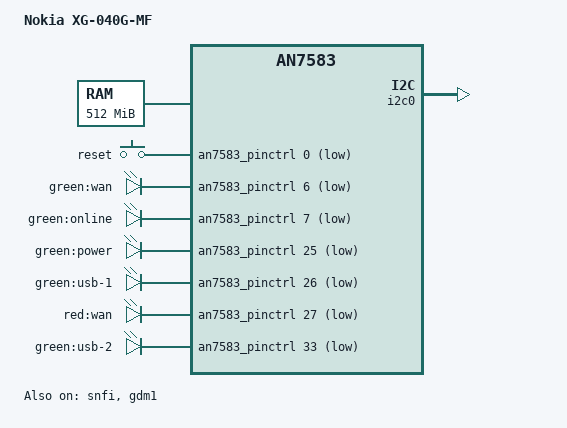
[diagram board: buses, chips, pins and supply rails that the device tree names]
// SPDX-License-Identifier: (GPL-2.0-only OR BSD-2-Clause)
/dts-v1/;

#include <dt-bindings/leds/common.h>
#include <dt-bindings/gpio/gpio.h>
#include <dt-bindings/input/input.h>
#include "an7583.dtsi"

/ {
	model = "Nokia XG-040G-MF";
	compatible = "nokia,xg-040g-mf", "airoha,an7583";

	chosen {
		bootargs = "console=ttyS0,115200 earlycon";
		stdout-path = "serial0:115200n8";
		linux,usable-memory-range = <0x0 0x80200000 0x0 0x1fe00000>;
	};

	options {
		u-boot {
			compatible = "u-boot,config";
			/* Web recovery LED chase, in this order; red stays out. */
			httpd-chase-leds = <&led_power &led_wan &led_online &led_usb1 &led_usb2>;
		};
	};

	memory@80000000 {
		device_type = "memory";
		reg = <0x0 0x80000000 0x0 0x20000000>;
	};

	keys {
		compatible = "gpio-keys";

		button-0 {
			label = "reset";
			linux,code = <KEY_RESTART>;
			gpios = <&an7583_pinctrl 0 GPIO_ACTIVE_LOW>;
		};
	};

	leds {
		compatible = "gpio-leds";

		led_wan: led-0 {
			label = "green:wan";
			gpios = <&an7583_pinctrl 6 GPIO_ACTIVE_LOW>;
		};

		led_online: led-1 {
			label = "green:online";
			gpios = <&an7583_pinctrl 7 GPIO_ACTIVE_LOW>;
		};

		led_power: led-2 {
			label = "green:power";
			gpios = <&an7583_pinctrl 25 GPIO_ACTIVE_LOW>;
		};

		led_usb1: led-3 {
			label = "green:usb-1";
			gpios = <&an7583_pinctrl 26 GPIO_ACTIVE_LOW>;
		};

		led-4 {
			label = "red:wan";
			gpios = <&an7583_pinctrl 27 GPIO_ACTIVE_LOW>;
		};

		led_usb2: led-5 {
			label = "green:usb-2";
			gpios = <&an7583_pinctrl 33 GPIO_ACTIVE_LOW>;
		};
	};
};

&snfi {
	status = "okay";
};

&spi_nand {
	partitions {
		compatible = "fixed-partitions";
		#address-cells = <1>;
		#size-cells = <1>;

		partition@0 {
			label = "bl2";
			reg = <0x0 0x20000>;
		};

		partition@20000 {
			label = "ubi";
			reg = <0x20000 0xffe0000>;
		};
	};
};

&i2c0 {
	status = "okay";
};

&gdm1 {
	status = "okay";
};
